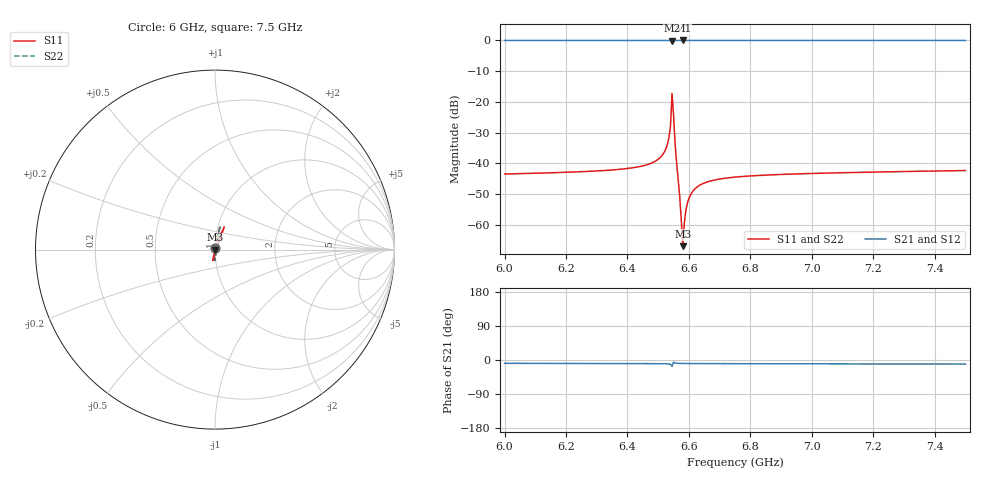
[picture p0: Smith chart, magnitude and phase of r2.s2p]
! Sonnet Data File
! From: em Version : 14.52
! From Project: r2
! Data is De-embedded
! Data File Written: 04/03/2019 11:14:56
!< HDATE 04/03/2019 10:43:15
!< MDATE 04/03/2019 10:43:15
# GHZ S MA R 50.00000
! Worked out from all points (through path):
!   301 points, 6 GHz to 7.5 GHz, reference 50 ohm
!   highest |S21| = 0.00 dB at 6.58 GHz (marker M1); lowest = -0.1 dB at 6.545 GHz (marker M2)
!   group delay of S21, straight-line fit = 3.81 ps
!   lowest |S11| = -67.0 dB at 6.58 GHz (marker M3), VSWR 1.00, Z = 50 + j0.0176 ohm
!   |S11| at or under -10 dB: start of sweep to end of sweep
!   |S22| runs from -67.0 to -17.2 dB; largest |S21 - S12| = 0
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6  0.006657 79.7  1 -8.7  1 -8.7  0.006657 82.9
!< P1 F=6.0 Eeff=(5.67097947 -5.1707e-6) Z0=(51.3367484 2.34088e-5) R=0.00819012 C=0.00295365
!< P2 F=6.0 Eeff=(5.67097947 -5.1707e-6) Z0=(51.3367484 2.34088e-5) R=0.00819012 C=0.00295365
6.25  0.007266 79.1  1 -9.1  1 -9.1  0.007266 82.7
6.425  0.008541 78.3  1 -9.4  1 -9.4  0.008541 82.8
6.5  0.01159 77.3  0.9999 -9.7  0.9999 -9.7  0.01159 83.3
6.52  0.01522 76.5  0.9999 -9.9  0.9999 -9.9  0.01522 83.6
6.53  0.02028 75.8  0.9998 -10.2  0.9998 -10.2  0.02028 83.7
6.535  0.02604 75.2  0.9997 -10.6  0.9997 -10.6  0.02604 83.6
6.54  0.04036 74.0  0.9992 -11.4  0.9992 -11.4  0.04036 83.1
6.545  0.1373 67.9  0.9903 -17.0  0.9903 -17.0  0.1373 77.9
6.55  0.06158 -101.1  0.998 -5.6  0.998 -5.6  0.06158 -89.9
6.555  0.02037 -104.3  0.9998 -7.9  0.9998 -7.9  0.02038 -91.5
6.57  0.002881 -112.9  1 -9.0  1 -9.0  0.002881 -85.0
6.58  0.0004443 156.6  1 -9.2  1 -9.2  0.0004452 5.1
6.585  0.001055 100.2  1 -9.2  1 -9.2  0.001055 61.3
6.59  0.001702 90.5  1 -9.3  1 -9.3  0.001702 70.9
6.6  0.002669 85.0  1 -9.3  1 -9.3  0.002669 76.4
6.61  0.00334 83.0  1 -9.4  1 -9.4  0.00334 78.2
6.655  0.004858 80.5  1 -9.5  1 -9.5  0.004858 80.4
6.75  0.005927 79.4  1 -9.7  1 -9.7  0.005927 81.1
7  0.0068 78.5  1 -10.1  1 -10.1  0.0068 81.2
7.25  0.00724 78.0  1 -10.5  1 -10.5  0.00724 81.0
7.5  0.007587 77.5  1 -10.9  1 -10.9  0.007587 80.8
